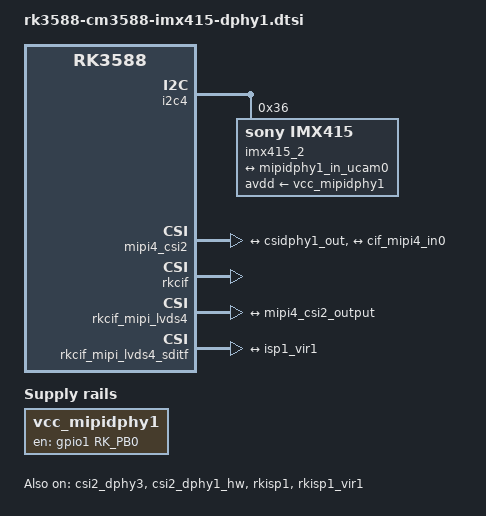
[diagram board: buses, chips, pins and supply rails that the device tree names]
// SPDX-License-Identifier: (GPL-2.0+ OR MIT)
/*
 * Copyright (c) 2021 Rockchip Electronics Co., Ltd.
 *
 */

/ {
	cam_ircut1: cam_ircut {
		status = "okay";
		compatible = "rockchip,ircut";
		rockchip,camera-module-index = <1>;
		rockchip,camera-module-facing = "back";
	};
	vcc_mipidphy1: vcc-mipidcphy1-regulator {
		compatible = "regulator-fixed";
		gpio = <&gpio1 RK_PB0 GPIO_ACTIVE_HIGH>;
		pinctrl-names = "default";
		pinctrl-0 = <&mipidphy1_pwr>;
		regulator-name = "vcc_mipidphy1";
		enable-active-high;
	};
};

// csi2_dphy3 refers to DPHY1 hardware in 4-lane mode
&csi2_dphy3 {
	status = "okay";

	ports {
		#address-cells = <1>;
		#size-cells = <0>;
		port@0 {
			reg = <0>;
			#address-cells = <1>;
			#size-cells = <0>;

			mipidphy1_in_ucam0: endpoint@1 {
				reg = <1>;
				remote-endpoint = <&imx415_out1>;
				data-lanes = <1 2 3 4>;
			};
		};
		port@1 {
			reg = <1>;
			#address-cells = <1>;
			#size-cells = <0>;

			csidphy1_out: endpoint@0 {
				reg = <0>;
				remote-endpoint = <&mipi4_csi2_input>;
			};
		};
	};
};

&csi2_dphy1_hw {
	status = "okay";
};

&i2c4 {
	status = "okay";
	pinctrl-names = "default";
	pinctrl-0 = <&i2c4m3_xfer>;

	imx415_2: imx415@36 {
		compatible = "sony,imx415";
		reg = <0x36>;
		clocks = <&cru CLK_MIPI_CAMARAOUT_M3>;
		clock-names = "xvclk";
		pinctrl-names = "default";
		pinctrl-0 = <&mipim0_camera3_clk>;
		power-domains = <&power RK3588_PD_VI>;
		avdd-supply = <&vcc_mipidphy1>;
		rockchip,camera-module-index = <1>;
		rockchip,camera-module-facing = "back";
		rockchip,camera-module-name = "CMK-OT2022-PX1";
		rockchip,camera-module-lens-name = "IR0147-50IRC-8M-F20";
	//	lens-focus = <&cam_ircut1>;
		port {
			imx415_out1: endpoint {
				remote-endpoint = <&mipidphy1_in_ucam0>;
				data-lanes = <1 2 3 4>;
			};
		};
	};
};

&mipi4_csi2 {
	status = "okay";

	ports {
		#address-cells = <1>;
		#size-cells = <0>;

		port@0 {
			reg = <0>;
			#address-cells = <1>;
			#size-cells = <0>;

			mipi4_csi2_input: endpoint@1 {
				reg = <1>;
				remote-endpoint = <&csidphy1_out>;
			};
		};

		port@1 {
			reg = <1>;
			#address-cells = <1>;
			#size-cells = <0>;

			mipi4_csi2_output: endpoint@0 {
				reg = <0>;
				remote-endpoint = <&cif_mipi4_in0>;
			};
		};
	};
};

&pinctrl {
	cam {
		mipidphy1_pwr: mipidphy1-pwr {
			rockchip,pins =
				/* camera power en */
				<1 RK_PB0 RK_FUNC_GPIO &pcfg_pull_none>;
		};
	};
};

&rkcif {
	status = "okay";
};

&rkcif_mipi_lvds4 {
	status = "okay";

	port {
		cif_mipi4_in0: endpoint {
			remote-endpoint = <&mipi4_csi2_output>;
		};
	};
};

&rkcif_mipi_lvds4_sditf {
	status = "okay";

	port {
		mipi_lvds4_sditf: endpoint {
			remote-endpoint = <&isp1_vir1>;
		};
	};
};

&rkcif_mmu {
	status = "okay";
};

&rkisp1 {
	status = "okay";
};

&isp1_mmu {
	status = "okay";
};

&rkisp1_vir1 {
	status = "okay";

	port {
		#address-cells = <1>;
		#size-cells = <0>;

		isp1_vir1: endpoint@0 {
			reg = <0>;
			remote-endpoint = <&mipi_lvds4_sditf>;
		};
	};
};
